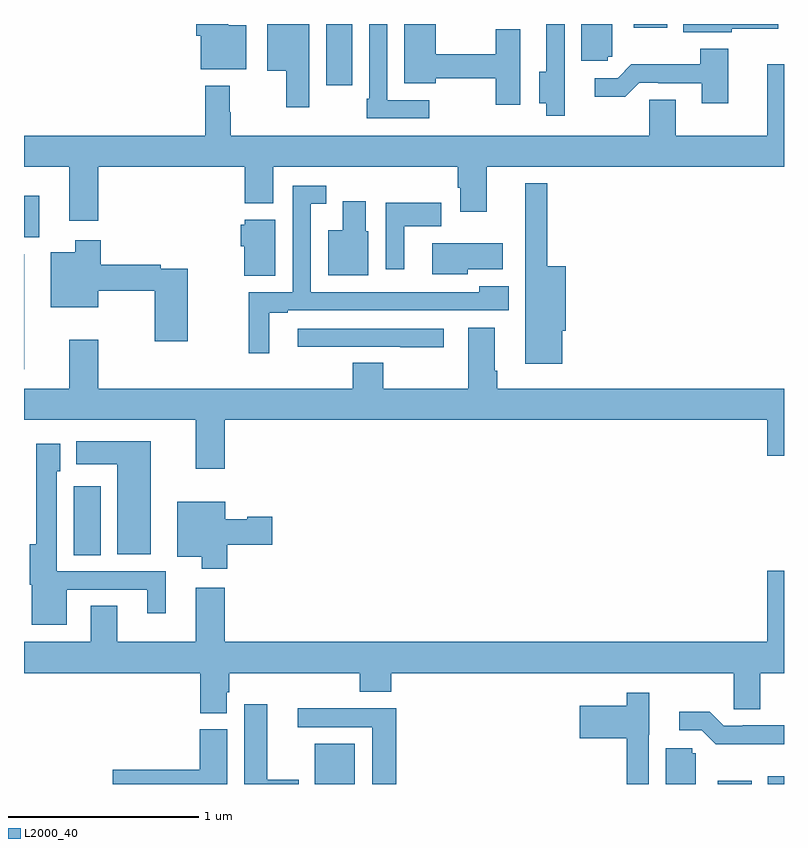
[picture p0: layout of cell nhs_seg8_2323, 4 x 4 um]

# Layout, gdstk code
import gdstk
lib = gdstk.Library(unit=1e-6, precision=1e-09)
def R(c, l, rs):  # rectangles x0, y0, x1, y1
    for r in rs: c.add(gdstk.rectangle(r[:2], r[2:], *l))
def P(c, l, *ps):  # polygons
    for p in ps: c.add(gdstk.Polygon(p, *l))
L2000_40 = (2000, 40)

nhs_seg8_2323 = lib.new_cell('nhs_seg8_2323')
R(nhs_seg8_2323, L2000_40, [(258.53,1131.9,258.742,1132.111), (260.652,1131.9,260.829,1131.916), (260.914,1131.9,261,1131.94), (257.261,1133.104,257.404,1133.467), (257,1134.084,257.002,1134.688), (257,1134.777,257.08,1134.997), (258.59,1135.578,258.727,1135.9), (260.208,1135.88,260.385,1135.9)])
P(nhs_seg8_2323, L2000_40, [(260.073,1135.728),(260.095,1135.728),(260.095,1135.9),(259.934,1135.9),(259.934,1135.707),(260.073,1135.707)],
  [(258.502,1135.9),(258.281,1135.9),(258.281,1135.655),(258.38,1135.655),(258.38,1135.461),(258.502,1135.461)],
  [(258.169,1135.894),(258.076,1135.894),(258.076,1135.9),(257.906,1135.9),(257.906,1135.839),(257.93,1135.839),(257.93,1135.661),(258.169,1135.661)],
  [(259.846,1135.638),(259.845,1135.638),(259.845,1135.9),(259.748,1135.9),(259.748,1135.65),(259.712,1135.65),(259.712,1135.484),(259.748,1135.484),(259.748,1135.416),(259.846,1135.416)],
  [(259.612,1135.873),(259.483,1135.873),(259.483,1135.742),(259.168,1135.742),(259.168,1135.9),(259.001,1135.9),(259.001,1135.589),(259.168,1135.589),(259.168,1135.614),(259.483,1135.614),(259.483,1135.476),(259.612,1135.476)],
  [(260.724,1135.874),(260.971,1135.874),(260.971,1135.9),(260.47,1135.9),(260.47,1135.856),(260.724,1135.856)],
  [(259.132,1135.5),(258.912,1135.5),(258.912,1135.9),(258.816,1135.9),(258.816,1135.507),(258.804,1135.507),(258.804,1135.404),(259.132,1135.404)],
  [(260.707,1135.771),(260.56,1135.771),(260.56,1135.687),(260.197,1135.687),(260.124,1135.614),(260.004,1135.614),(260.004,1135.517),(260.165,1135.517),(260.238,1135.59),(260.338,1135.59),(260.338,1135.587),(260.567,1135.587),(260.567,1135.482),(260.707,1135.482)],
  [(257.39,1135.148),(258.161,1135.148),(258.161,1134.956),(258.313,1134.956),(258.313,1135.148),(259.283,1135.148),(259.283,1135.038),(259.295,1135.038),(259.295,1134.912),(259.435,1134.912),(259.435,1135.148),(261,1135.148),(261,1135.687),(260.912,1135.687),(260.912,1135.312),(260.431,1135.312),(260.431,1135.502),(260.292,1135.502),(260.292,1135.312),(258.089,1135.312),(258.089,1135.436),(258.082,1135.436),(258.082,1135.576),(257.953,1135.576),(257.953,1135.312),(257,1135.312),(257,1135.148),(257.237,1135.148),(257.237,1134.864),(257.39,1134.864)],
  [(259.834,1134.285),(259.852,1134.285),(259.852,1134.625),(259.754,1134.625),(259.754,1135.063),(259.637,1135.063),(259.637,1134.841),(259.638,1134.841),(259.638,1134.516),(259.637,1134.516),(259.637,1134.113),(259.834,1134.113)],
  [(258.292,1134.381),(258.388,1134.381),(258.388,1134.393),(259.552,1134.393),(259.552,1134.52),(259.397,1134.52),(259.397,1134.489),(258.51,1134.489),(258.51,1134.953),(258.592,1134.953),(258.592,1135.05),(258.414,1135.05),(258.414,1134.489),(258.183,1134.489),(258.183,1134.168),(258.292,1134.168)],
  [(258.811,1134.81),(258.799,1134.81),(258.799,1134.967),(258.677,1134.967),(258.677,1134.814),(258.602,1134.814),(258.602,1134.578),(258.811,1134.578)],
  [(259,1134.836),(259.195,1134.836),(259.195,1134.958),(258.903,1134.958),(258.903,1134.609),(259,1134.609)],
  [(258.322,1134.871),(258.162,1134.871),(258.162,1134.843),(258.14,1134.843),(258.14,1134.729),(258.158,1134.729),(258.158,1134.574),(258.322,1134.574)],
  [(257.862,1134.612),(257.72,1134.612),(257.72,1134.632),(257.404,1134.632),(257.404,1134.763),(257.27,1134.763),(257.27,1134.7),(257.141,1134.7),(257.141,1134.41),(257.392,1134.41),(257.392,1134.496),(257.689,1134.496),(257.689,1134.231),(257.862,1134.231)],
  [(259.335,1134.608),(259.519,1134.608),(259.519,1134.745),(259.149,1134.745),(259.149,1134.584),(259.335,1134.584)],
  [(258.056,1133.816),(260.912,1133.816),(260.912,1133.628),(261,1133.628),(261,1133.98),(259.49,1133.98),(259.49,1134.076),(259.477,1134.076),(259.477,1134.301),(259.337,1134.301),(259.337,1133.98),(258.891,1133.98),(258.891,1134.116),(258.731,1134.116),(258.731,1133.98),(257.39,1133.98),(257.39,1134.238),(257.237,1134.238),(257.237,1133.98),(257,1133.98),(257,1133.816),(257.903,1133.816),(257.903,1133.559),(258.056,1133.559)],
  [(259.21,1134.297),(258.441,1134.297),(258.441,1134.201),(258.979,1134.201),(258.979,1134.199),(259.21,1134.199)],
  [(257.668,1133.704),(257.276,1133.704),(257.276,1133.582),(257.492,1133.582),(257.492,1133.108),(257.668,1133.108)],
  [(257.224,1132.923),(257.648,1132.923),(257.648,1132.8),(257.746,1132.8),(257.746,1133.019),(257.172,1133.019),(257.172,1133.547),(257.191,1133.547),(257.191,1133.692),(257.064,1133.692),(257.064,1133.161),(257.029,1133.161),(257.029,1132.95),(257.042,1132.95),(257.042,1132.739),(257.224,1132.739)],
  [(258.071,1133.159),(258.307,1133.159),(258.307,1133.306),(258.174,1133.306),(258.174,1133.293),(258.058,1133.293),(258.058,1133.386),(257.807,1133.386),(257.807,1133.096),(257.936,1133.096),(257.936,1133.034),(258.071,1133.034)],
  [(258.067,1132.383),(258.08,1132.383),(258.08,1132.484),(258.767,1132.484),(258.767,1132.385),(258.932,1132.385),(258.932,1132.484),(260.736,1132.484),(260.736,1132.294),(260.875,1132.294),(260.875,1132.484),(261,1132.484),(261,1133.023),(260.912,1133.023),(260.912,1132.648),(258.056,1132.648),(258.056,1132.933),(257.903,1132.933),(257.903,1132.648),(257.491,1132.648),(257.491,1132.838),(257.351,1132.838),(257.351,1132.648),(257,1132.648),(257,1132.484),(257.927,1132.484),(257.927,1132.273),(258.067,1132.273)],
  [(260.289,1132.158),(260.29,1132.158),(260.29,1132.381),(260.173,1132.381),(260.173,1132.312),(259.926,1132.312),(259.926,1132.142),(260.173,1132.142),(260.173,1131.9),(260.289,1131.9)],
  [(258.445,1131.922),(258.28,1131.922),(258.28,1132.321),(258.158,1132.321),(258.158,1131.9),(258.445,1131.9)],
  [(258.959,1132.298),(258.441,1132.298),(258.441,1132.2),(258.833,1132.2),(258.833,1131.9),(258.959,1131.9)],
  [(260.74,1132.11),(261,1132.11),(261,1132.209),(260.782,1132.209),(260.782,1132.206),(260.682,1132.206),(260.609,1132.279),(260.448,1132.279),(260.448,1132.182),(260.568,1132.182),(260.641,1132.109),(260.74,1132.109)],
  [(258.07,1132.188),(257.924,1132.188),(257.924,1131.974),(257.466,1131.974),(257.466,1131.9),(258.07,1131.9)],
  [(260.536,1132.062),(260.517,1132.062),(260.517,1132.089),(260.378,1132.089),(260.378,1131.9),(260.536,1131.9)])

lib.write_gds('nhs_seg8_2323.gds')
